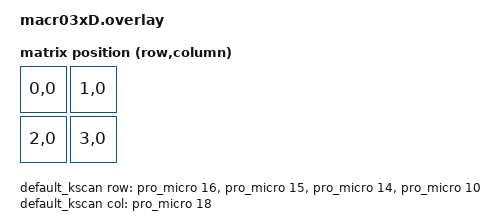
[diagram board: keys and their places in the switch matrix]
#include <dt-bindings/zmk/matrix_transform.h>
#include <dt-bindings/zmk/gpio.h>
#include <dt-bindings/zmk/adc.h>
#include <physical_layouts.dtsi>

/ {
    default_kscan: kscan {
        compatible = "zmk,kscan-gpio-matrix";
        label = "default_kscan";
        diode-direction = "col2row";

        row-gpios = <&pro_micro 16 (GPIO_ACTIVE_HIGH | GPIO_PULL_DOWN)>,
                    <&pro_micro 15 (GPIO_ACTIVE_HIGH | GPIO_PULL_DOWN)>,
                    <&pro_micro 14 (GPIO_ACTIVE_HIGH | GPIO_PULL_DOWN)>,
                    <&pro_micro 10 (GPIO_ACTIVE_HIGH | GPIO_PULL_DOWN)>;

        col-gpios = <&pro_micro 18 GPIO_ACTIVE_HIGH>;
    };

    default_transform: matrix_transform {
        compatible = "zmk,matrix-transform";
        rows = <4>;
        columns = <1>;

        map = <
            RC(0,0)
            RC(1,0)
            RC(2,0)
            RC(3,0)
        >;
    };

    physical_layout0: physical_layout_0 {
        compatible = "zmk,physical-layout";
        display-name = "macr03xD";
        kscan = <&default_kscan>;
        transform = <&default_transform>;
        keys
            = <&key_physical_attrs 100 100   0   0 0 0 0>
            , <&key_physical_attrs 100 100 100   0 0 0 0>
            , <&key_physical_attrs 100 100   0 100 0 0 0>
            , <&key_physical_attrs 100 100 100 100 0 0 0>
            ;
    };

    vbatt: battery-divider {
        compatible = "zmk,battery-voltage-divider";
        io-channels = <&adc 6>;
        output-ohms = <100000>;
        full-ohms = <(100000 + 100000)>;
    };

    chosen {
        zmk,physical-layout = &physical_layout0;
        zmk,battery = &vbatt;
    };
};

&adc {
    status = "okay";
};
